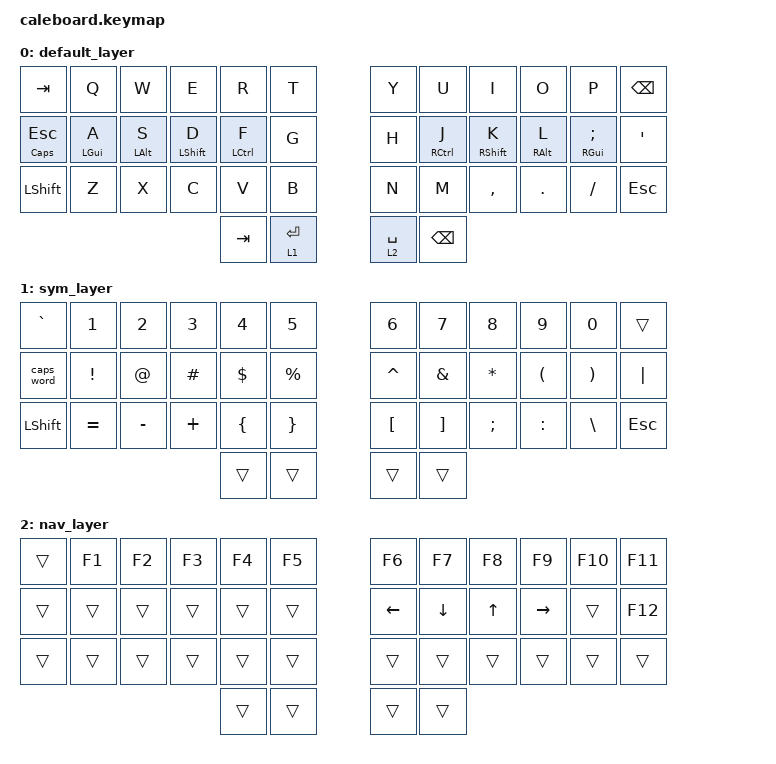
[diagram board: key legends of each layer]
#include <behaviors.dtsi>
#include <dt-bindings/zmk/keys.h>

/* #include <dt-bindings/zmk/bt.h> */

#define KEYS_L 0 1 2 3 4 5 12 13 14 15 16 17 24 25 26 27 28 29 
#define KEYS_R 6 7 8 9 10 11 18 19 20 21 22 23 30 31 32 33 34 35
#define THUMBS 36 37 38 39

&mt { // mod-tap
  flavor = "tap-preferred";
  tapping-term-ms = <240>;
  quick-tap-ms = <150>;
  hold-trigger-key-positions = <0>;
};

&lt { // layer tap
  flavor = "tap-preferred";
  tapping-term-ms = <160>;
  quick-tap-ms = <120>;
};


/ {
  /* rpi: require_prior_idle { */
  /*   compatible = "zmk,behavior-hold-tap"; */
  /*   #binding-cells = <2>; */
  /*   flavor = "balanced"; */
  /*   tapping-term-ms = <200>; */
  /*   quick-tap-ms = <200>; */
  /*   require-prior-idle-ms = <125>; */
  /*   bindings = <&kp>, <&kp>; */
  /* }; */

  hml: home_row_mod_left {
    compatible = "zmk,behavior-hold-tap";
    #binding-cells = <2>;
    flavor = "balanced";
    tapping-term-ms = <280>;
    quick-tap-ms = <175>;
    require-prior-idle-ms = <200>;
    bindings = <&kp>, <&kp>;
    hold-trigger-key-positions = <KEYS_R THUMBS>;
    hold-trigger-on-release;
  };
  hmr: home_row_mod_right {
    compatible = "zmk,behavior-hold-tap";
    #binding-cells = <2>;
    flavor = "balanced";
    tapping-term-ms = <280>;
    quick-tap-ms = <175>;
    require-prior-idle-ms = <200>;
    bindings = <&kp>, <&kp>;
    hold-trigger-key-positions = <KEYS_L THUMBS>;
    hold-trigger-on-release;
  };

  keymap {
    compatible = "zmk,keymap";
    // -----------------------------------------------------------------------------------------
    // |  TAB |  Q  |  W  |  E  |  R  |  T  |   |  Y  |  U   |  I  |  O  |  P  | BSPC |
    // | ESC |  A  |  S  |  D  |  F  |  G  |   |  H  |  J   |  K  |  L  |  ;  |  '   |
    // | SHFT |  Z  |  X  |  C  |  V  |  B  |   |  N  |  M   |  ,  |  .  |  /  | ESC  |
    //                          | TAB | SPC |   | ENT | RSE  |
    default_layer {
      bindings = <
        &kp TAB      &kp Q      &kp W      &kp E       &kp R       &kp T           &kp Y       &kp U        &kp I        &kp O       &kp P         &kp BSPC
        &mt CLCK ESC &hml LGUI A &hml LALT S &hml LSHFT D &hml LCTRL F &kp G           &kp H       &hmr RCTRL J  &hmr RSHFT K  &hmr RALT L  &hmr RGUI SEMI &kp SQT
        &kp LSHFT    &kp Z      &kp X      &kp C       &kp V       &kp B           &kp N       &kp M        &kp COMMA    &kp DOT     &kp FSLH     &kp ESC
                                                      &kp TAB     &lt 1 RET        &lt 2 SPACE &kp BSPC
      >;
    };
    // -----------------------------------------------------------------------------------------
    // |  `   |  1  |  2  |  3  |  4  |  5  |   |  6  |  7   |  8  |  9  |  0  |      |
    // | CWRD |  !  |  @  |  #  |  $  |  %  |   |  ^  |  &   |  *  |  (  |  )  |  |   |
    // | SHFT |  =  |  -  |  +  |  {  |  }  |   |  [  |  ]   |  ;  |  :  |  \  |      |
    //                          |     |     |   |     |      | 
    sym_layer {
      bindings = <
        &kp GRAVE    &kp N1     &kp N2    &kp N3   &kp N4    &kp N5       &kp N6       &kp N7     &kp N8     &kp N9   &kp N0    &trans
        &caps_word   &kp EXCL   &kp AT    &kp HASH &kp DLLR  &kp PRCNT    &kp CARET    &kp AMPS   &kp STAR   &kp LPAR &kp RPAR  &kp PIPE
        &kp LSHFT    &kp EQUAL  &kp MINUS &kp PLUS &kp LBRC  &kp RBRC     &kp LBKT     &kp RBKT   &kp SEMI  &kp COLON  &kp BSLH &kp ESC
                                                    &trans    &trans      &trans        &trans
      >;
    };
    nav_layer {
      bindings = <
        &trans &kp F1 &kp F2 &kp F3 &kp F4 &kp F5   &kp F6   &kp F7   &kp F8 &kp F9    &kp F10 &kp F11
        &trans &trans &trans &trans &trans &trans   &kp LEFT &kp DOWN &kp UP &kp RIGHT &trans &kp F12
        &trans &trans &trans &trans &trans &trans   &trans   &trans   &trans &trans    &trans &trans
                                    &trans &trans   &trans &trans
      >;
    };
  };
};
